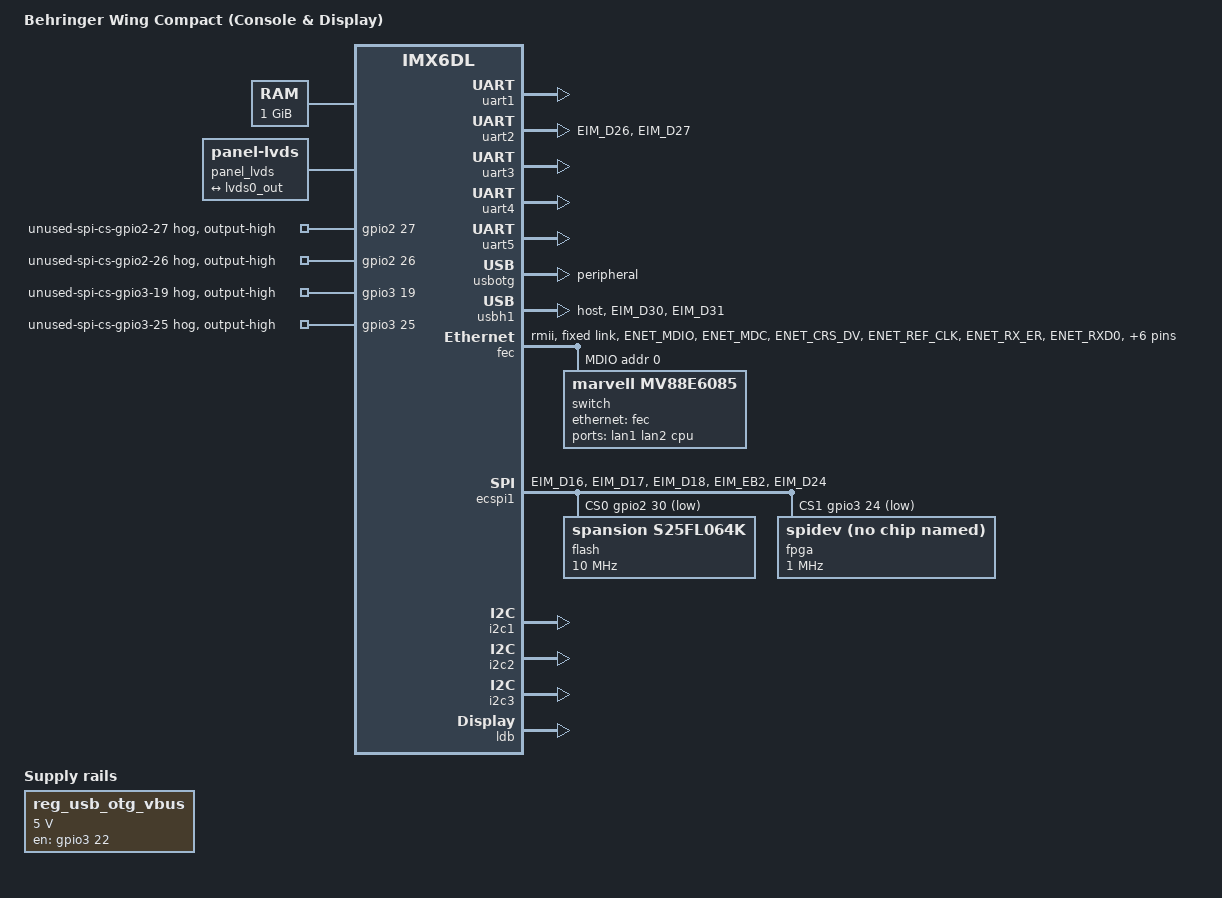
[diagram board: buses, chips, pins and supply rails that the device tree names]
/dts-v1/;

#include "imx6dl.dtsi"
#include <dt-bindings/gpio/gpio.h>

/ {
	model = "Behringer Wing Compact (Console & Display)";
	compatible = "behringer,wing-compact", "fsl,imx6dl";
	pinctrl-names = "default";
	pinctrl-0 = <&pinctrl_pnlc_boot>;
	
	/*
	* WING Compact uses i.MX6 Solo-class silicon: the kernel still uses the
	* DualLite DTSI for the shared peripheral layout, but the SCU reports only
	* one Cortex-A9 core. Do not advertise the non-existent second CPU.
	*/
	cpus {
		/delete-node/ cpu@1;
	};
	
	reg_usb_otg_vbus: regulator-usb-otg-vbus {
		compatible = "regulator-fixed";
		regulator-name = "usb_otg_vbus";
		regulator-min-microvolt = <5000000>;
		regulator-max-microvolt = <5000000>;
		gpio = <&gpio3 22 0>;
		enable-active-high;
	};
	
	chosen {
		stdout-path = "serial1:115200n8";
		bootargs = "console=tty1 console=ttyGS0,115200 console=ttymxc1,115200 ignore_loglevel loglevel=8 g_serial.use_acm=1 root=/dev/ram0 rdinit=/init rw vt.global_cursor_default=1 usbcore.autosuspend=-1 usbhid.quirks=0x3434:0x0103:0x20000408";
	};
	
	memory@10000000 {
		device_type = "memory";
		reg = <0x10000000 0x40000000>;
	};
	
	panel_lvds: panel-lvds {
		compatible = "panel-lvds";
		width-mm = <217>;
		height-mm = <136>;
		data-mapping = "vesa-24";
		data-width = <24>;
		
		panel-timing {
			clock-frequency = <71500000>;
			hactive = <1280>;
			vactive = <800>;
			hback-porch = <70>;
			hfront-porch = <70>;
			hsync-len = <2>;
			vback-porch = <15>;
			vfront-porch = <21>;
			vsync-len = <2>;
			hsync-active = <0>;
			vsync-active = <1>;
			de-active = <1>;
			pixelclk-active = <0>;
		};
		
		port {
			panel_in: endpoint {
				remote-endpoint = <&lvds0_out>;
			};
		};
	};
};

&uart1 {
	status = "okay";
};

&uart2 {
	pinctrl-names = "default";
	pinctrl-0 = <&pinctrl_uart2>;
	status = "okay";
};

&uart3 {
	status = "okay";
};

&uart4 {
	status = "okay";
};

&uart5 {
	status = "okay";
};

&gpio2 {
	unused-cs-27 {
		gpio-hog;
		gpios = <27 GPIO_ACTIVE_HIGH>;
		output-high;
		line-name = "unused-spi-cs-gpio2-27";
	};
	
	unused-cs-26 {
		gpio-hog;
		gpios = <26 GPIO_ACTIVE_HIGH>;
		output-high;
		line-name = "unused-spi-cs-gpio2-26";
	};
};

&gpio3 {
	unused-cs-19 {
		gpio-hog;
		gpios = <19 GPIO_ACTIVE_HIGH>;
		output-high;
		line-name = "unused-spi-cs-gpio3-19";
	};
	
	unused-cs-25 {
		gpio-hog;
		gpios = <25 GPIO_ACTIVE_HIGH>;
		output-high;
		line-name = "unused-spi-cs-gpio3-25";
	};
};

&usbotg {
	dr_mode = "peripheral";
	disable-over-current;
	status = "okay";
};

&usbh1 {
	pinctrl-names = "default";
	pinctrl-0 = <&pinctrl_usbh1>;
	dr_mode = "host";
	power-active-high;
	status = "okay";
};

&usbh2 {
	status = "disabled";
};

&usbh3 {
	status = "disabled";
};

&fec {
	pinctrl-names = "default";
	pinctrl-0 = <&pinctrl_enet_rmii>;
	phy-mode = "rmii";
	local-mac-address = [ fa e1 25 be 5b 47 ];
	status = "okay";
	
	fixed-link {
		speed = <100>;
		full-duplex;
	};
	
	mdio {
		#address-cells = <1>;
		#size-cells = <0>;
		
		switch@0 {
			compatible = "marvell,mv88e6085";
			reg = <0>;
			
			ports {
				#address-cells = <1>;
				#size-cells = <0>;
				
				port@3 {
					reg = <3>;
					label = "lan1";
				};
				
				port@4 {
					reg = <4>;
					label = "lan2";
				};
				
				port@6 {
					reg = <6>;
					label = "cpu";
					ethernet = <&fec>;
					phy-mode = "rmii";
					
					fixed-link {
						speed = <100>;
						full-duplex;
					};
				};
			};
		};
	};
};

/* Disable all USDHC controllers to stop SDHCI/esdhc probing and register dumps */
&usdhc1 {
	status = "disabled";
};

&usdhc2 {
	status = "disabled";
};

&usdhc3 {
	status = "disabled";
};

&usdhc4 {
	status = "disabled";
};

&ecspi1 {
	/delete-property/ dmas;
	/delete-property/ dma-names;

	#address-cells = <1>;
	#size-cells = <0>;

	pinctrl-names = "default";
	pinctrl-0 = <&pinctrl_ecspi1>;

	cs-gpios = <&gpio2 30 GPIO_ACTIVE_LOW>,
		   <&gpio3 24 GPIO_ACTIVE_LOW>;

	status = "okay";

	flash: flash@0 {
		compatible = "spansion,s25fl064k", "jedec,spi-nor";
		reg = <0>;
		spi-max-frequency = <10000000>;
	};

	fpga: fpga@1 {
		compatible = "rohm,dh2228fv";
		reg = <1>;
		spi-max-frequency = <1000000>;
	};
};

&ecspi2 {
	status = "disabled";
};

&ecspi3 {
	status = "disabled";
};

&ecspi4 {
	status = "disabled";
};

&i2c1 {
	status = "okay";
};

&i2c2 {
	status = "okay";
};

&i2c3 {
	status = "okay";
};

&ldb {
	status = "okay";
	
	lvds-channel@0 {
		fsl,data-mapping = "spwg";
		fsl,data-width = <24>;
		status = "okay";
		
		port@4 {
			reg = <4>;
			
			lvds0_out: endpoint {
				remote-endpoint = <&panel_in>;
			};
		};
	};
};

&iomuxc {
	pinctrl_ecspi1: ecspi1grp {
		fsl,pins = <
			MX6QDL_PAD_EIM_D16__ECSPI1_SCLK		0x1b0b0
			MX6QDL_PAD_EIM_D17__ECSPI1_MISO		0x1b0b0
			MX6QDL_PAD_EIM_D18__ECSPI1_MOSI		0x1b0b0

			/* CS0: SPI Flash */
			MX6QDL_PAD_EIM_EB2__GPIO2_IO30		0x1b008

			/* CS1: FPGA */
			MX6QDL_PAD_EIM_D24__GPIO3_IO24		0x1b0b0
		>;
	};

	pinctrl_pnlc_boot: pnlcbootgrp {
		fsl,pins = <
			MX6QDL_PAD_CSI0_VSYNC__GPIO5_IO21 0x1b0b0
			MX6QDL_PAD_CSI0_DAT4__GPIO5_IO22 0x1b0b0
		>;
	};

	pinctrl_uart2: uart2grp {
		fsl,pins = <
			MX6QDL_PAD_EIM_D26__UART2_TX_DATA 0x1b0b0
			MX6QDL_PAD_EIM_D27__UART2_RX_DATA 0x1b0b0
		>;
	};

	pinctrl_usbh1: usbh1grp {
		fsl,pins = <
			MX6QDL_PAD_EIM_D30__USB_H1_OC  0xb000
			MX6QDL_PAD_EIM_D31__USB_H1_PWR 0x0008
		>;
	};

	pinctrl_enet_rmii: enetrmiigrp {
		fsl,pins = <
			MX6QDL_PAD_ENET_MDIO__ENET_MDIO       0x1b0b0
			MX6QDL_PAD_ENET_MDC__ENET_MDC         0x0b0b0
			MX6QDL_PAD_ENET_CRS_DV__ENET_RX_EN    0x10000
			MX6QDL_PAD_ENET_REF_CLK__ENET_TX_CLK  0x40010000
			MX6QDL_PAD_ENET_RX_ER__ENET_RX_ER     0x10000
			MX6QDL_PAD_ENET_RXD0__ENET_RX_DATA0   0x10000
			MX6QDL_PAD_ENET_RXD1__ENET_RX_DATA1   0x10000
			MX6QDL_PAD_ENET_TX_EN__ENET_TX_EN     0x0b0b0
			MX6QDL_PAD_ENET_TXD0__ENET_TX_DATA0   0x0b0b0
			MX6QDL_PAD_ENET_TXD1__ENET_TX_DATA1   0x0b0b0
			MX6QDL_PAD_GPIO_18__ENET_RX_CLK       0x10000
			MX6QDL_PAD_GPIO_16__ENET_REF_CLK      0x40010000
		>;
	};
};
